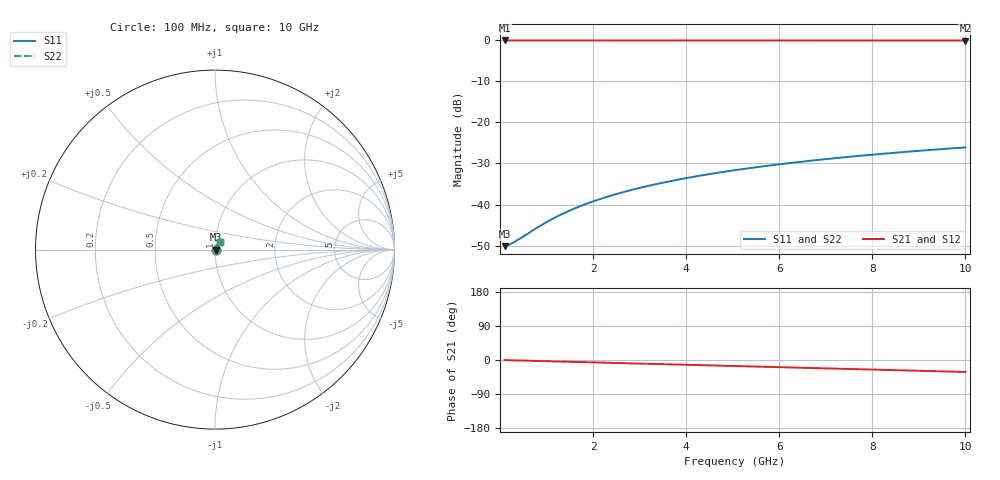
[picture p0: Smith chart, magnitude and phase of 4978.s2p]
# Hz S RI R 50.00
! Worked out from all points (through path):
!   100 points, 100 MHz to 10 GHz, reference 50 ohm
!   highest |S21| = -0.03 dB at 100 MHz (marker M1); lowest = 0.0 dB at 10 GHz (marker M2)
!   group delay of S21, straight-line fit = 8.77 ps
!   lowest |S11| = -50.1 dB at 100 MHz (marker M3), VSWR 1.01, Z = 50.3 + j0.051 ohm
!   |S11| at or under -10 dB: start of sweep to end of sweep
!   |S22| runs from -50.1 to -26.1 dB; largest |S21 - S12| = 0
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1e8  0.00307 0.000507  0.9969 -0.00548  0.9969 -0.00548  0.00307 0.000507
2e8  0.00309 0.00101  0.9968 -0.011  0.9968 -0.011  0.00309 0.00101
3e8  0.00312 0.00152  0.9968 -0.0164  0.9968 -0.0164  0.00312 0.00152
4e8  0.00315 0.00203  0.9966 -0.0219  0.9966 -0.0219  0.00315 0.00203
9e8  0.00336 0.00455  0.9956 -0.0493  0.9956 -0.0493  0.00336 0.00455
1.2e9  0.00355 0.00605  0.9946 -0.0657  0.9946 -0.0657  0.00355 0.00605
1.5e9  0.00379 0.00755  0.9934 -0.0821  0.9934 -0.0821  0.00379 0.00755
1.8e9  0.00408 0.00904  0.9918 -0.0985  0.9918 -0.0985  0.00408 0.00904
2.1e9  0.00441 0.0105  0.99 -0.1148  0.99 -0.1148  0.00441 0.0105
2.5e9  0.00493 0.0125  0.9872 -0.1366  0.9872 -0.1366  0.00493 0.0125
2.9e9  0.00553 0.0144  0.9839 -0.1582  0.9839 -0.1582  0.00553 0.0144
3.4e9  0.0064 0.0168  0.9791 -0.1852  0.9791 -0.1852  0.0064 0.0168
3.8e9  0.0072 0.0186  0.9747 -0.2067  0.9747 -0.2067  0.0072 0.0186
4.2e9  0.00807 0.0204  0.9699 -0.2282  0.9699 -0.2282  0.00807 0.0204
4.6e9  0.00902 0.0222  0.9646 -0.2495  0.9646 -0.2495  0.00902 0.0222
5.1e9  0.0103 0.0244  0.9572 -0.2759  0.9572 -0.2759  0.0103 0.0244
5.9e9  0.0126 0.0276  0.944 -0.3178  0.944 -0.3178  0.0126 0.0276
6.7e9  0.0153 0.0307  0.9289 -0.3591  0.9289 -0.3591  0.0153 0.0307
7.5e9  0.0181 0.0335  0.912 -0.3997  0.912 -0.3997  0.0181 0.0335
8.4e9  0.0216 0.0364  0.8908 -0.4445  0.8908 -0.4445  0.0216 0.0364
9.2e9  0.025 0.0386  0.8701 -0.4833  0.8701 -0.4833  0.025 0.0386
1e10  0.0286 0.0405  0.8476 -0.5213  0.8476 -0.5213  0.0286 0.0405
